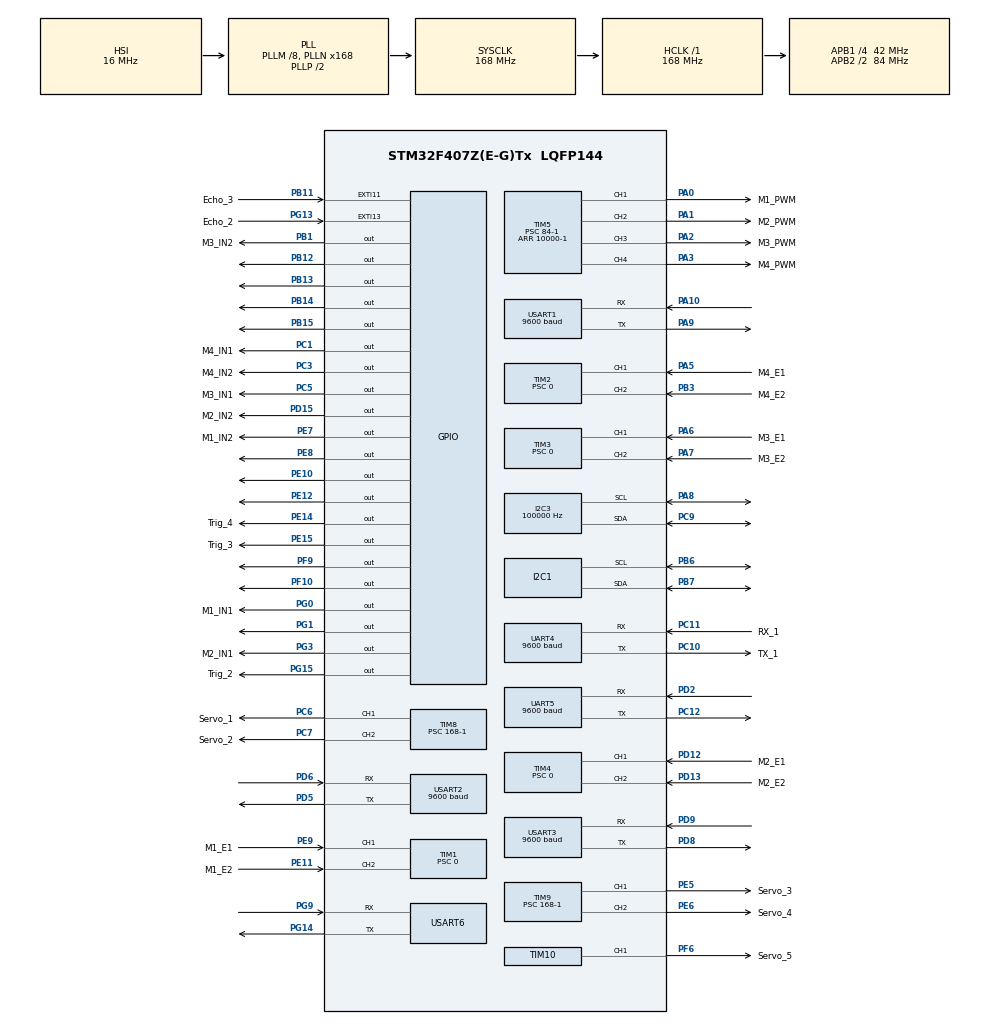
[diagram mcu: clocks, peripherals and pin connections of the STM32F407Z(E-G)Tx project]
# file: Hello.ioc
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I2C1.I2C_Mode=I2C_Fast
I2C3.ClockSpeed=100000
I2C3.I2C_Mode=I2C_Fast
Mcu.Family=STM32F4
Mcu.Name=STM32F407Z(E-G)Tx
Mcu.Package=LQFP144
NVIC.PriorityGroup=NVIC_PRIORITYGROUP_4
NVIC.UART4_IRQn=true\:2\:0\:true\:false\:true\:true\:true\:true
NVIC.UART5_IRQn=true\:4\:0\:true\:false\:true\:true\:true\:true
NVIC.USART1_IRQn=true\:5\:0\:true\:false\:true\:true\:true\:true
NVIC.USART2_IRQn=true\:3\:0\:true\:false\:true\:true\:true\:true
NVIC.USART3_IRQn=true\:1\:0\:true\:false\:true\:true\:true\:true
PA0-WKUP.GPIO_Label=M1_PWM
PA0-WKUP.Signal=S_TIM5_CH1
PA1.GPIO_Label=M2_PWM
PA1.Signal=S_TIM5_CH2
PA10.Mode=Asynchronous
PA10.Signal=USART1_RX
PA13.Mode=Serial_Wire
PA13.Signal=SYS_JTMS-SWDIO
PA14.Mode=Serial_Wire
PA14.Signal=SYS_JTCK-SWCLK
PA2.GPIO_Label=M3_PWM
PA2.Signal=S_TIM5_CH3
PA3.GPIO_Label=M4_PWM
PA3.Signal=S_TIM5_CH4
PA5.GPIO_Label=M4_E1
PA5.Signal=S_TIM2_CH1_ETR
PA6.GPIO_Label=M3_E1
PA6.Signal=S_TIM3_CH1
PA7.GPIO_Label=M3_E2
PA7.Signal=S_TIM3_CH2
PA8.Mode=I2C
PA8.Signal=I2C3_SCL
PA9.Mode=Asynchronous
PA9.Signal=USART1_TX
PB1.GPIO_Label=M3_IN2
PB1.Signal=GPIO_Output
PB11.GPIO_Label=Echo_3
PB11.GPIO_ModeDefaultEXTI=GPIO_MODE_IT_RISING_FALLING
PB11.Signal=GPXTI11
PB12.Signal=GPIO_Output
PB13.Signal=GPIO_Output
PB14.Signal=GPIO_Output
PB15.Signal=GPIO_Output
PB3.GPIO_Label=M4_E2
PB3.Signal=S_TIM2_CH2
PB6.Mode=I2C
PB6.Signal=I2C1_SCL
PB7.Mode=I2C
PB7.Signal=I2C1_SDA
PC1.GPIO_Label=M4_IN1
PC1.Signal=GPIO_Output
PC10.GPIO_Label=TX_1
PC10.Mode=Asynchronous
PC10.Signal=UART4_TX
PC11.GPIO_Label=RX_1
PC11.Mode=Asynchronous
PC11.Signal=UART4_RX
PC12.Mode=Asynchronous
PC12.Signal=UART5_TX
PC14-OSC32_IN.Mode=LSE-External-Oscillator
PC14-OSC32_IN.Signal=RCC_OSC32_IN
PC15-OSC32_OUT.Mode=LSE-External-Oscillator
PC15-OSC32_OUT.Signal=RCC_OSC32_OUT
PC3.GPIO_Label=M4_IN2
PC3.Signal=GPIO_Output
PC5.GPIO_Label=M3_IN1
PC5.Signal=GPIO_Output
PC6.GPIO_Label=Servo_1
PC6.Signal=S_TIM8_CH1
PC7.GPIO_Label=Servo_2
PC7.Signal=S_TIM8_CH2
PC9.Mode=I2C
PC9.Signal=I2C3_SDA
PD12.GPIO_Label=M2_E1
PD12.Signal=S_TIM4_CH1
PD13.GPIO_Label=M2_E2
PD13.Signal=S_TIM4_CH2
PD15.GPIO_Label=M2_IN2
PD15.Signal=GPIO_Output
PD2.Mode=Asynchronous
PD2.Signal=UART5_RX
PD5.Mode=Asynchronous
PD5.Signal=USART2_TX
PD6.Mode=Asynchronous
PD6.Signal=USART2_RX
PD8.Mode=Asynchronous
PD8.Signal=USART3_TX
PD9.Mode=Asynchronous
PD9.Signal=USART3_RX
PE10.Signal=GPIO_Output
PE11.GPIO_Label=M1_E2
PE11.Signal=S_TIM1_CH2
PE12.Signal=GPIO_Output
PE14.GPIO_Label=Trig_4
PE14.Signal=GPIO_Output
PE15.GPIO_Label=Trig_3
PE15.Signal=GPIO_Output
PE5.GPIO_Label=Servo_3
PE5.Signal=S_TIM9_CH1
PE6.GPIO_Label=Servo_4
PE6.Signal=S_TIM9_CH2
PE7.GPIO_Label=M1_IN2
PE7.Signal=GPIO_Output
PE8.Signal=GPIO_Output
PE9.GPIO_Label=M1_E1
PE9.Signal=S_TIM1_CH1
PF10.Signal=GPIO_Output
PF6.GPIO_Label=Servo_5
PF6.Signal=S_TIM10_CH1
PF9.Signal=GPIO_Output
PG0.GPIO_Label=M1_IN1
PG0.Signal=GPIO_Output
PG1.Signal=GPIO_Output
PG13.GPIO_Label=Echo_2
PG13.GPIO_ModeDefaultEXTI=GPIO_MODE_IT_RISING_FALLING
PG13.Signal=GPXTI13
PG14.Mode=Asynchronous
PG14.Signal=USART6_TX
PG15.GPIO_Label=Trig_2
PG15.Signal=GPIO_Output
PG3.GPIO_Label=M2_IN1
PG3.Signal=GPIO_Output
PG9.Mode=Asynchronous
PG9.Signal=USART6_RX
PH0-OSC_IN.Mode=HSE-External-Oscillator
PH0-OSC_IN.Signal=RCC_OSC_IN
PH1-OSC_OUT.Mode=HSE-External-Oscillator
PH1-OSC_OUT.Signal=RCC_OSC_OUT
ProjectManager.HeapSize=0x200
ProjectManager.StackSize=0x400
ProjectManager.TargetToolchain=STM32CubeIDE
RCC.48MHZClocksFreq_Value=84000000
RCC.AHBFreq_Value=168000000
RCC.APB1CLKDivider=RCC_HCLK_DIV4
RCC.APB1Freq_Value=42000000
RCC.APB1TimFreq_Value=84000000
RCC.APB2CLKDivider=RCC_HCLK_DIV2
RCC.APB2Freq_Value=84000000
RCC.APB2TimFreq_Value=168000000
RCC.CortexFreq_Value=168000000
RCC.HCLKFreq_Value=168000000
RCC.HSE_VALUE=25000000
RCC.HSI_VALUE=16000000
RCC.PLLM=8
RCC.PLLN=168
RCC.SYSCLKFreq_VALUE=168000000
RCC.SYSCLKSource=RCC_SYSCLKSOURCE_PLLCLK
RCC.VCOOutputFreq_Value=336000000
SH.S_TIM10_CH1.0=TIM10_CH1,PWM Generation1 CH1
SH.S_TIM1_CH1.0=TIM1_CH1,Encoder_Interface
SH.S_TIM1_CH2.0=TIM1_CH2,Encoder_Interface
SH.S_TIM2_CH1_ETR.0=TIM2_CH1,Encoder_Interface
SH.S_TIM2_CH2.0=TIM2_CH2,Encoder_Interface
SH.S_TIM3_CH1.0=TIM3_CH1,Encoder_Interface
SH.S_TIM3_CH2.0=TIM3_CH2,Encoder_Interface
SH.S_TIM4_CH1.0=TIM4_CH1,Encoder_Interface
SH.S_TIM4_CH2.0=TIM4_CH2,Encoder_Interface
SH.S_TIM5_CH1.0=TIM5_CH1,PWM Generation1 CH1
SH.S_TIM5_CH2.0=TIM5_CH2,PWM Generation2 CH2
SH.S_TIM5_CH3.0=TIM5_CH3,PWM Generation3 CH3
SH.S_TIM5_CH4.0=TIM5_CH4,PWM Generation4 CH4
SH.S_TIM8_CH1.0=TIM8_CH1,PWM Generation1 CH1
SH.S_TIM8_CH2.0=TIM8_CH2,PWM Generation2 CH2
SH.S_TIM9_CH1.0=TIM9_CH1,PWM Generation1 CH1
SH.S_TIM9_CH2.0=TIM9_CH2,PWM Generation2 CH2
TIM1.IC1Filter=15
TIM1.IC2Filter=15
TIM1.Prescaler=0
TIM10.Channel=TIM_CHANNEL_1
TIM10.Period=20000-1
TIM10.Prescaler=168-1
TIM2.IC1Filter=15
TIM2.IC2Filter=15
TIM2.Prescaler=0
TIM3.IC1Filter=15
TIM3.IC2Filter=15
TIM3.Prescaler=0
TIM4.IC1Filter=15
TIM4.Prescaler=0
TIM5.Channel-PWM\ Generation1\ CH1=TIM_CHANNEL_1
TIM5.Channel-PWM\ Generation2\ CH2=TIM_CHANNEL_2
TIM5.Channel-PWM\ Generation3\ CH3=TIM_CHANNEL_3
TIM5.Channel-PWM\ Generation4\ CH4=TIM_CHANNEL_4
TIM5.Period=10000-1
TIM5.Prescaler=84-1
TIM6.Prescaler=8400-1
TIM8.Channel-PWM\ Generation1\ CH1=TIM_CHANNEL_1
TIM8.Channel-PWM\ Generation2\ CH2=TIM_CHANNEL_2
TIM8.Period=20000-1
TIM8.Prescaler=168-1
TIM8.Pulse-PWM\ Generation1\ CH1=1000
TIM8.Pulse-PWM\ Generation2\ CH2=1000
TIM9.Channel-PWM\ Generation1\ CH1=TIM_CHANNEL_1
TIM9.Channel-PWM\ Generation2\ CH2=TIM_CHANNEL_2
TIM9.Period=20000-1
TIM9.Prescaler=168-1
TIM9.Pulse-PWM\ Generation1\ CH1=1000
TIM9.Pulse-PWM\ Generation2\ CH2=1000
UART4.BaudRate=9600
UART4.VirtualMode=Asynchronous
UART5.BaudRate=9600
UART5.VirtualMode=Asynchronous
UART5.WordLength=WORDLENGTH_8B
USART1.BaudRate=9600
USART1.Parity=PARITY_NONE
USART1.VirtualMode=VM_ASYNC
USART2.BaudRate=9600
USART2.VirtualMode=VM_ASYNC
USART3.BaudRate=9600
USART3.VirtualMode=VM_ASYNC
USART6.VirtualMode=VM_ASYNC
VP_TIM10_VS_ClockSourceINT.Mode=Enable_Timer
VP_TIM5_VS_ClockSourceINT.Mode=Internal
VP_TIM6_VS_ClockSourceINT.Mode=Enable_Timer
VP_TIM8_VS_ClockSourceINT.Mode=Internal
VP_TIM9_VS_ClockSourceINT.Mode=Internal
board=custom

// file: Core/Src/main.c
/* USER CODE BEGIN Header */
/**
  ******************************************************************************
  * @file           : main.c
  * @brief          : Main program body
  ******************************************************************************
  * @attention
  *
  * Copyright (c) 2025 STMicroelectronics.
  * All rights reserved.
  *
  * This software is licensed under terms that can be found in the LICENSE file
  * in the root directory of this software component.
  * If no LICENSE file comes with this software, it is provided AS-IS.
  *
  ******************************************************************************
  */
/* USER CODE END Header */
#include "main.h"
#include "i2c.h"
#include "tim.h"
#include "usart.h"
#include "gpio.h"

/* USER CODE BEGIN Includes */
#include "ultrasonic_nonblocking.h"
#include "Servo.h"
#include "motor.h"
#include "mpu6050.h"
#include "pid_controller.h"
#include "us100_uart.h"
#include <stdio.h>
#include <string.h>
#include "OLED.h"
#include <stdbool.h>
/* USER CODE END Includes */

/* USER CODE BEGIN PV */
char aRxBuffer[1]={51};
uint8_t ledState = 0;
Motor motors[MOTOR_COUNT] = {0};
float target_speed = 50.0f;
uint32_t prev_time = 0;
uint32_t oled_prev_time = 0;
uint32_t path = 0;
uint32_t path_change = 0;
uint32_t count_100ms = 0;
uint32_t time_start = 0;
float distances[4] = {2000.0f, 2000.0f, 2000.0f, 2000.0f};
float sum[4] = {0, 0, 0, 0};
float mean[4] = {0, 0, 0, 0};
bool start_flag = true;
uint32_t time = 0;
bool flag = true;
bool delay_flag = true;
uint8_t OpenMVdata = 0;
uint8_t message[] = "Hello World";
uint8_t uart4_rx_buffer;
Servo servo1, servo2, servo3, servo4, servo5;
US100Sensor us100_sensor1, us100_sensor2, us100_sensor3, us100_sensor4;

// 添加缺失的变量定义
uint32_t start_start = 0;
uint32_t time_enterpath_case0 = 0;
uint32_t time_enterpath_case1 = 0;
uint32_t time_enterpath_case3 = 0;
uint32_t time_enterpath_case5 = 0;
uint32_t time_enterpath_case7 = 0;
uint32_t time_enterpath_case9 = 0;
uint32_t time_enterpath_case11 = 0;
/* USER CODE END PV */

void SystemClock_Config(void);

/* USER CODE BEGIN 0 */
#define CLAMP(value, min, max) ((value) < (min) ? (min) : ((value) > (max) ? (max) : (value)))

void HAL_UART_RxCpltCallback(UART_HandleTypeDef *huart){
    // 检查是否是UART5（US100传感器使用的串口）
    if (huart == &huart1) {
    ledState = !ledState;
    HAL_GPIO_WritePin(GPIOF, GPIO_PIN_9, ledState ? GPIO_PIN_SET : GPIO_PIN_RESET);
    // 继续接收下一个字节
    HAL_UART_Receive_IT(&huart1, aRxBuffer, 1);
    }
    if (huart == &huart5||huart == &huart2||huart == &huart3||huart == &huart4) {
      US100_UART_RxCpltCallback(huart);
      HAL_GPIO_WritePin(GPIOF, GPIO_PIN_10, GPIO_PIN_SET);  // 收到'a'后关闭LED
    }
    // if (huart == &huart5) {
    //     // 调用US100库的回调函数
    //   US100_UART_RxCpltCallback(huart,5);
    //   HAL_GPIO_WritePin(GPIOF, GPIO_PIN_10, GPIO_PIN_SET);  // 收到'a'后关闭LED
    // }else if (huart == &huart2)
    // {
    //   US100_UART_RxCpltCallback(huart,2);
    //   HAL_GPIO_WritePin(GPIOF, GPIO_PIN_10, GPIO_PIN_SET);
    // }else if (huart == &huart3)
    // {
    //   US100_UART_RxCpltCallback(huart,3);
    //   HAL_GPIO_WritePin(GPIOF, GPIO_PIN_10, GPIO_PIN_SET);
    // }else if (huart == &huart4)
    // {
    //   US100_UART_RxCpltCallback(huart,4);
    //   HAL_GPIO_WritePin(GPIOF, GPIO_PIN_10, GPIO_PIN_SET);
    // }

}

#define MAX_SPEED_STEP 5  // 每次最大速度变化量
uint8_t smooth_speed_transition(uint8_t current, uint8_t target) {
    if(target > current) {
        return fmin(current + MAX_SPEED_STEP, target);
    } else if(target < current) {
        return fmax(current - MAX_SPEED_STEP, target);
    }
    return current;
}

void PID_ResetAll(void) {
  PID_Reset(&pid_yaw);
  PID_Reset(&pid_rear);
  PID_Reset(&pid_front);
  PID_Reset(&pid_position);
}

void Rotate_90_Degrees(Motor_ID id1, Motor_ID id2, Motor_ID id3, Motor_ID id4, bool clockwise) {
  float ROTATION_SPEED;  // 旋转速度
  static const float ROTATION_SPEED_max = 30.0f;
  static const float ANGLE_TOLERANCE = 6.9f;  // 角度容差
  // MPU6050_DMP_Get_Data(&pitchstart , &rollopen , &yaw);
  float const start_yaw = target_yaw;  // 记录起始角度
  float target_angle = start_yaw + (clockwise ? -90.0f : 90.0f);  // 计算目标角度
  unsigned int num = 0;

  // 标准化目标角度到-180到180度范围
  if (target_angle > 180.0f) {
      target_angle -= 360.0f;
  } else if (target_angle < -180.0f) {
      target_angle += 360.0f;
  }

  // 设置目标偏航角
  target_yaw = target_angle;

  // // 重置PID控制器
  // PID_Reset(&pid_yaw);
  // PID_Reset(&pid_front);
  // PID_Reset(&pid_rear);
  // PID_Reset(&pid_position);

  // 开始旋转
  uint32_t start_time = HAL_GetTick();
  while (num <= 20) {
      // 检查是否超时（5秒）
      if (HAL_GetTick() - start_time > 5000) {
          break;
      }

      // 获取当前偏航角
      float pitch, roll, current_yaw;
      if (MPU6050_DMP_Get_Data(&pitch, &roll, &current_yaw) != 0) {
          continue;  // 如果获取数据失败，继续尝试
      }

      OLED_ShowChar(3,5,current_yaw >= 0 ? '+' : '-');
      OLED_ShowChar(3,13,target_yaw >= 0 ? '+' : '-');
      OLED_ShowNum(3,14,fabsf(target_yaw),3);
      OLED_ShowNum(3,6,fabsf(current_yaw),3);
      OLED_ShowChar(4,5,roll >= 0 ? '+' : '-');
      OLED_ShowNum(4, 6, fabsf(roll) , 3);

      // 计算角度误差
      float angle_error = target_angle - current_yaw;

      // 计算时间间隔dt
      static uint32_t last_pid_time = 0;
      uint32_t current_time = HAL_GetTick();
      float dt = (current_time - last_pid_time) / 1000.0f;  // 转换为秒
      last_pid_time = current_time;

      float voltage = PID_Calculate(&pid_yaw, angle_error, dt);

      // 根据电压的正负分别限制速度，且要求绝对值大于12
      if (fabsf(voltage) > 10.0f) {
          if (voltage >= 0) {
              ROTATION_SPEED = fmin(voltage, ROTATION_SPEED_max);
          } else {
              ROTATION_SPEED = fmax(voltage, -ROTATION_SPEED_max);
          }
      } else {
          // 如果电压绝对值小于等于12，保持原符号但设为12
          ROTATION_SPEED = (voltage >= 0) ? 10.0f : -10.0f;
      }
      // 如果达到目标角度（考虑容差），停止旋转

      // 根据旋转方向设置电机速度
      Motor_SetSpeed(id1, ROTATION_SPEED);  // 左前
      Motor_SetSpeed(id2, ROTATION_SPEED);  // 右后
      Motor_SetSpeed(id3, -ROTATION_SPEED);   // 左后
      Motor_SetSpeed(id4, -ROTATION_SPEED);   // 右前

      if (fabsf(angle_error) <= ANGLE_TOLERANCE){
          num++;
      }
      HAL_Delay(10);
  }

}

void Servo_open_red_left()
{
    // 使用正确的舵机变量名和角度
    Servo_SetAngle(&servo1, 115);
    Servo_SetAngle(&servo2, 35);
    Servo_SetAngle(&servo3, 123);
    Servo_SetAngle(&servo4, 48);
    Servo_SetAngle(&servo5, 15);
}

void Servo_open_red_right()
{
    // 使用正确的舵机变量名和角度
    Servo_SetAngle(&servo1, 35);
    Servo_SetAngle(&servo2, 122);
    Servo_SetAngle(&servo3, 38);
    Servo_SetAngle(&servo4, 138);
    Servo_SetAngle(&servo5, 15);
}

void Servo_open_green_left()
{
    // 使用正确的舵机变量名和角度
    Servo_SetAngle(&servo1, 35);
    Servo_SetAngle(&servo2, 35);
    Servo_SetAngle(&servo3, 123);
    Servo_SetAngle(&servo4, 48);
    Servo_SetAngle(&servo5, 15);
}

void Servo_open_green_right()
{
    // 使用正确的舵机变量名和角度
    Servo_SetAngle(&servo1, 35);
    Servo_SetAngle(&servo2, 35);
    Servo_SetAngle(&servo3, 38);
    Servo_SetAngle(&servo4, 138);
    Servo_SetAngle(&servo5, 15);
}

void Servo_close()
{
    // 使用正确的舵机变量名和角度
    Servo_SetAngle(&servo5, 105);
    Servo_SetAngle(&servo1, 40);
    Servo_SetAngle(&servo2, 35);
    Servo_SetAngle(&servo3, 38);
    Servo_SetAngle(&servo4, 48);
}

/* USER CODE END 0 */

int main(void)
{
  HAL_Init();
  SystemClock_Config();

  MX_GPIO_Init();
  MX_I2C1_Init();
  MX_I2C3_Init();
  MX_USART1_UART_Init();
  MX_TIM1_Init();
  MX_TIM3_Init();
  MX_TIM4_Init();
  MX_TIM5_Init();
  MX_TIM8_Init();
  MX_TIM9_Init();
  MX_TIM10_Init();
  MX_TIM2_Init();
  MX_UART4_Init();
  MX_UART5_Init();
  MX_USART2_UART_Init();
  MX_USART3_UART_Init();
  MX_USART6_UART_Init();
  MX_TIM6_Init();
  /* USER CODE BEGIN 2 */
  OLED_Init();

  HAL_UART_Receive_IT(&huart1, aRxBuffer, 1);

  HAL_TIM_Base_Start(&htim6);
  Reset_Timer();  // 重置计时器

  // 初始化MPU6050 DMP
  int mpu_result;
  int retry_count = 0;
  uint32_t timeout_start = HAL_GetTick();

  do {
      mpu_result = MPU6050_DMP_Init();
      if (mpu_result != 0) {
          retry_count++;
          if (retry_count % 10 == 0) {
              OLED_ShowString(1,1,"INITING...");
              OLED_ShowNum(1,11,retry_count,2);
          }
          // 添加超时检查
          if (HAL_GetTick() - timeout_start > 5000) { // 5秒超时
              OLED_ShowString(1,1,"MPU INIT FAIL");
              break;
          }
      }
  } while (mpu_result != 0);

  OLED_Clear();
  OLED_ShowString(1,1,"SUCCESS");
  // 显示初始化耗时
  uint32_t init_time = HAL_GetTick() - timeout_start;
  OLED_ShowNum(2,1,init_time,4);
  OLED_ShowString(2,5,"ms");

  // 初始化US100传感器顺时针1234
  US100_Init(&us100_sensor2, &huart5);
  US100_Init(&us100_sensor1, &huart4);
  US100_Init(&us100_sensor4, &huart3);
  US100_Init(&us100_sensor3, &huart2);

  // 开始第一次测量
  US100_StartMeasurement(&us100_sensor1);
  US100_StartMeasurement(&us100_sensor2);
  US100_StartMeasurement(&us100_sensor3);
  US100_StartMeasurement(&us100_sensor4);

  Motor_Init(MOTOR_1,
            &htim5, TIM_CHANNEL_1,
            M1_IN1_GPIO_Port, M1_IN1_Pin,
            M1_IN2_GPIO_Port, M1_IN2_Pin,
            &htim1);

  Motor_Init(MOTOR_2,
            &htim5, TIM_CHANNEL_2,
            M2_IN1_GPIO_Port, M2_IN1_Pin,
            M2_IN2_GPIO_Port, M2_IN2_Pin,
            &htim4);

  Motor_Init(MOTOR_3,
            &htim5, TIM_CHANNEL_3,
            M3_IN1_GPIO_Port, M3_IN1_Pin,
            M3_IN2_GPIO_Port, M3_IN2_Pin,
            &htim3);

  Motor_Init(MOTOR_4,
            &htim5, TIM_CHANNEL_4,
            M4_IN1_GPIO_Port, M4_IN1_Pin,
            M4_IN2_GPIO_Port, M4_IN2_Pin,
            &htim2);

  Servo_Init(&servo1, &htim8, TIM_CHANNEL_1, Servo_1_GPIO_Port, Servo_1_Pin);
  Servo_Init(&servo2, &htim8, TIM_CHANNEL_2, Servo_2_GPIO_Port, Servo_2_Pin);
  Servo_Init(&servo3, &htim9, TIM_CHANNEL_1, Servo_3_GPIO_Port, Servo_3_Pin);
  Servo_Init(&servo4, &htim9, TIM_CHANNEL_2, Servo_4_GPIO_Port, Servo_4_Pin);
  Servo_Init(&servo5, &htim10, TIM_CHANNEL_1, Servo_5_GPIO_Port, Servo_5_Pin);

  Servo_close();

  prev_time = HAL_GetTick();

  /*------------------------------------MPU6050 DMP执行部分-------------------------------------*/
    OLED_ShowString(3,1,"yaw:");
    OLED_ShowString(3,9,"TAR:");

  // 设置目标偏航角为当前偏航角
  target_yaw = yaw;

  // 重置PID控制器，避免积分项累积
  PID_Reset(&pid_yaw);
  PID_Reset(&pid_encoder);
  OLED_Clear_Part(1,1,5);

  /* USER CODE END 2 */
  start_start = HAL_GetTick();

  while (1)
  {
    /* USER CODE END WHILE */

    /* USER CODE BEGIN 3 */
    uint32_t current_time = HAL_GetTick();
    /*------------------------------------------------------------------------舵机执行部分--------------------------------------------------------------------*/

    static uint8_t last_data = 0;
     static uint32_t last_time = 0;
     static uint32_t servo_delay_start = 0;
     static bool waiting_for_delay = false;
     static uint8_t pending_servo_action = 0;  // 0:无动作, 1:红左, 2:红右, 3:绿左, 4:绿右, 5:关闭
     char opendata = aRxBuffer[0];
     OLED_ShowNum(4,13,opendata,3);

     bool can_change_state = (current_time - last_time >= 500);

     if(last_data != opendata && can_change_state) {
         if(opendata == 'r') {
             if(path == 3 || path == 7 || path == 11) {
                 servo_delay_start = current_time;
                 waiting_for_delay = true;
                 pending_servo_action = 1;  // 红左
             } else if(path == 5 || path == 9) {
                 servo_delay_start = current_time;
                 waiting_for_delay = true;
                 pending_servo_action = 2;  // 红右
             }
         } else if(opendata == 'g') {
             if(path == 3 || path == 7 || path == 11) {
                 servo_delay_start = current_time;
                 waiting_for_delay = true;
                 pending_servo_action = 3;  // 绿左
             } else if(path == 5 || path == 9) {
                 servo_delay_start = current_time;
                 waiting_for_delay = true;
                 pending_servo_action = 4;  // 绿右
             }
         } else if(opendata == 'n')
         {
             servo_delay_start = current_time;
             waiting_for_delay = true;
             pending_servo_action = 5;  // 关闭
         }

         last_data = opendata;
         last_time = current_time;
     }

     // 处理舵机延迟和动作
     if(waiting_for_delay) {
         uint32_t delay_time;
         switch(pending_servo_action) {
             case 1: delay_time = 0; break;  // 红左
             case 2: delay_time = 0; break;  // 红右
             case 3: delay_time = 0; break;  // 绿左
             case 4: delay_time = 0; break;  // 绿右
             case 5: delay_time = 0; break;  // 关闭
             default: delay_time = 0;
         }

         if(current_time - servo_delay_start >= delay_time) {
             switch(pending_servo_action) {
                 case 1: Servo_open_red_left(); break;
                 case 2: Servo_open_red_right(); break;
                 case 3: Servo_open_green_left(); break;
                 case 4: Servo_open_green_right(); break;
                 case 5: Servo_close(); break;
             }
             waiting_for_delay = false;
             pending_servo_action = 0;
         }
     }

    /*----------------------------------------------------------------------------US100传感器执行部分-------------------------------------------------------------*/
    US100_GetAllValidDistances(distances);

    if (current_time - oled_prev_time >= 100) {  // 每100ms更新一次显示
        // 显示原始距离和滤波后的距离
        OLED_ShowString(1, 1, "Flt:");
        OLED_ShowString(1, 9, "Flt:");
        OLED_ShowString(2, 1, "Flt:");
        OLED_ShowString(2, 9, "Flt:");

        // 显示第一个传感器的原始值和滤波值
        OLED_ShowNum(1, 5, distances[0], 4);
        OLED_ShowNum(1, 13, fabs(distances[1]), 4);

        // 显示第二个传感器的原始值和滤波值
        OLED_ShowNum(2, 5, distances[2], 4);
        OLED_ShowNum(2, 13, distances[3], 4);

        oled_prev_time = current_time;
    }

    if(delay_flag)
    {
      HAL_Delay(500);
      delay_flag=false;
    }
    /*---------------------------------------------------------------电机执行部分---------------------------------------------------------------------------------*/

    OLED_ShowChar(3,5,yaw >= 0 ? '+' : '-');
    OLED_ShowNum(3,6,fabsf(yaw),3);
    OLED_ShowChar(3,13,target_yaw >= 0 ? '+' : '-');
    OLED_ShowNum(3,14,fabsf(target_yaw),3);

     switch (path) {
       case 0: {
         // 参数定义
         const float TARGET_DISTANCE = 156.0f;   // 调试，这个变量用于检测最终的目标距离
         const float DECEL_RANGE = 600.0f;      // 调试，这个变量用于设置减速区间范围
         const uint16_t ADJUST_DISTANCE = 250;  // 调试，这个变量用于在距离最终目标距离较近时的取消调校
         const uint8_t MIN_SPEED = 13;          // 调试，这个变量用于设置接近目标时的速度最小速度（靠近时）
         const uint8_t MAX_SPEED = 60;          // 调试，这个变量用于设置离目标较远时的速度
         const uint16_t DELAY_ADJUST = 8000;    // 调试，这个变量用于路径转换后的校准延时时间，需要确保进入垄
         float current_distance = distances[1]; // 前面的超声波
         if(time_enterpath_case0 == 0) {
             time_enterpath_case0 = HAL_GetTick();
         }

         // 速度计算逻辑
         uint8_t motor_speed = 0;  // 默认最大速度
        //  motor_speed = MAX_SPEED;
        if (current_distance <= TARGET_DISTANCE && current_distance != 0 && (HAL_GetTick() - time_enterpath_case0 >= 8000)) {
             motor_speed = MIN_SPEED;
            Motor_SetSpeed(MOTOR_1,0);
            Motor_SetSpeed(MOTOR_2,0);
            Motor_SetSpeed(MOTOR_3,0);
            Motor_SetSpeed(MOTOR_4,0);
             Rotate_90_Degrees(MOTOR_1, MOTOR_2, MOTOR_3, MOTOR_4, true);
             path += 1;
             PID_ResetAll(); // 重置所有PID控制器
            //  break;
         }
        else if (current_distance <= (TARGET_DISTANCE + DECEL_RANGE) /* && mean[1] <= (TARGET_DISTANCE + DECEL_RANGE) */) {
               // 区域2：减速区间（70~170mm）
               // 距离越近速度越慢，线性变化：170mm->60, 70mm->10
               float distance_from_target = current_distance - TARGET_DISTANCE;
               float ratio = (distance_from_target / DECEL_RANGE) * 1.45;
               motor_speed = MIN_SPEED + (uint8_t)((MAX_SPEED - MIN_SPEED) * ratio);
               motor_speed = CLAMP(motor_speed, MIN_SPEED, MAX_SPEED);
           }
         else {
             // 区域1：全速区间（>170mm）
             motor_speed = MAX_SPEED;
         }

         // 执行带平滑过渡的电机控制
         static uint8_t last_speed = 0;
         motor_speed = smooth_speed_transition(last_speed, motor_speed);
         last_speed = motor_speed;

        // OLED_ShowNum(3,14,fabsf(motor_speed),3);
        Motor_Straight(MOTOR_1, MOTOR_2, MOTOR_3, MOTOR_4, motor_speed, &yaw, &target_yaw);

         // 使用左侧电机调整
         if(HAL_GetTick() - time_enterpath_case0 >= DELAY_ADJUST && current_distance >= ADJUST_DISTANCE ){
             Adjust_Left_Motors_By_Distance(MOTOR_1, MOTOR_3, MOTOR_2, MOTOR_4, raw_distances[0], 50.0f);
         }
         OLED_ShowNum(4, 1, path, 2);
         OLED_ShowNum(4, 4, motor_speed, 2);
         break;

       }
       case 1: {
         // 参数定义
         const float TARGET_DISTANCE = 156.0f;   // 调试，这个变量用于检测最终的目标距离
         const float DECEL_RANGE = 600.0f;      // 调试，这个变量用于设置减速区间范围
         const uint16_t ADJUST_DISTANCE = 250;  // 调试，这个变量用于在距离最终目标距离较近时的取消调校
         const uint8_t MIN_SPEED = 16;          // 调试，这个变量用于设置接近目标时的速度最小速度（靠近时）
         const uint8_t MAX_SPEED = 60;          // 调试，这个变量用于设置离目标较远时的速度
         const uint16_t DELAY_ADJUST = 2700;    // 调试，这个变量用于路径转换后的校准延时时间，需要确保进入垄

         float current_distance = distances[1];
         if(time_enterpath_case1 == 0) {
             time_enterpath_case1 = HAL_GetTick();
         }

         // 速度计算逻辑
         uint8_t motor_speed = MAX_SPEED;  // 默认最大速度

         // 添加延迟判定
         static uint32_t reach_target_time = 0;
         if (reach_target_time == 0) {
             reach_target_time = HAL_GetTick();
         }

        if (current_distance <= TARGET_DISTANCE) {
             // 区域3：到达目标距离（≤130mm）
             motor_speed = MIN_SPEED;

             // 执行路径切换逻辑
             if(current_distance <= TARGET_DISTANCE && (HAL_GetTick() - reach_target_time >= 3000)) {
                Rotate_90_Degrees(MOTOR_1, MOTOR_2, MOTOR_3, MOTOR_4, false );
                 path += 1;
                 PID_ResetAll(); // 重置所有PID控制器
                 reach_target_time = 0; // 重置时间戳
             }
         }
         else if (current_distance <= (TARGET_DISTANCE + DECEL_RANGE)) {
             // 区域2：减速区间（130~830mm）
             float distance_from_target = current_distance - TARGET_DISTANCE;
             float ratio = (distance_from_target / DECEL_RANGE) *1.45;
             motor_speed = MIN_SPEED + (uint8_t)((MAX_SPEED - MIN_SPEED) * ratio);
             motor_speed = CLAMP(motor_speed, MIN_SPEED, MAX_SPEED);
         }
         else {
             // 区域1：全速区间（>830mm）
             motor_speed = MAX_SPEED;
         }

         // 执行带平滑过渡的电机控制
         static uint8_t last_speed = 0;
         motor_speed = smooth_speed_transition(last_speed, motor_speed);
         last_speed = motor_speed;

         Motor_Straight(MOTOR_1, MOTOR_2, MOTOR_3, MOTOR_4, motor_speed, &yaw, &target_yaw);

         if(HAL_GetTick() - time_enterpath_case1 >= DELAY_ADJUST && current_distance >= ADJUST_DISTANCE ){
             Adjust_Left_Motors_By_Distance(MOTOR_1, MOTOR_4, MOTOR_2, MOTOR_3, raw_distances[0], 82.0f);
         }

         OLED_ShowNum(4, 4, motor_speed, 2);
         OLED_ShowNum(4, 1, path, 2);
         break;
       }
       case 2: {
         const uint32_t DELAY_ENTER = 200; //调试

         if (path_change!=2)
         {
           if ((distances[0]>=150 && path_change==0)||(distances[0]<=150 && path_change==1))
           {
             Motor_Straight(MOTOR_1, MOTOR_2, MOTOR_3, MOTOR_4, -33, &yaw, &target_yaw);
             // 使用右侧电机调整
             Adjust_Right_Motors_By_Distance(MOTOR_2, MOTOR_4, MOTOR_1, MOTOR_3, raw_distances[2], 50.0f);
           }else if (distances[0]<=180 && path_change==0)
           {
             if(flag){
               time_start = HAL_GetTick();
               flag = false;
             }
             uint32_t time = HAL_GetTick();
             if(time - time_start >=100){
               path_change+=1;
               flag = true;
             }
           }else if (distances[0]>=180 && path_change==1)
           {
             if(flag){
               time_start = HAL_GetTick();
               flag = false;
             }
             uint32_t time = HAL_GetTick();
             if(time - time_start >= DELAY_ENTER ){
               path_change+=1;
               flag = true;
             }
           }
         }else{
           // 直接执行旋转和路径切换
           Rotate_90_Degrees(MOTOR_1, MOTOR_2, MOTOR_3, MOTOR_4, true );
           path_change = 0;
           flag = true;
           path +=1;
           PID_ResetAll();
         }
         OLED_ShowNum(4, 1, path, 2);
         break;
       }

       case 3: {
         // 参数定义
         const float TARGET_DISTANCE = 156.0f;   // 调试，这个变量用于检测最终的目标距离
         const float DECEL_RANGE = 600.0f;      // 调试，这个变量用于设置减速区间范围
         const uint16_t ADJUST_DISTANCE = 250;  // 调试，这个变量用于在距离最终目标距离较近时的取消调校
         const uint8_t MIN_SPEED = 21;          // 调试，这个变量用于设置接近目标时的速度最小速度（靠近时）
         const uint8_t MAX_SPEED = 60;          // 调试，这个变量用于设置离目标较远时的速度
         const uint16_t DELAY_ADJUST = 2700;    // 调试，这个变量用于路径转换后的校准延时时间，需要确保进入垄

         float current_distance = distances[3];
         if(time_enterpath_case3 == 0) {
             time_enterpath_case3 = HAL_GetTick();
         }

         // 速度计算逻辑
         uint8_t motor_speed = MAX_SPEED;  // 默认最大速度

         // 添加延迟判定
         static uint32_t reach_target_time = 0;
         if (reach_target_time == 0) {
             reach_target_time = HAL_GetTick();
         }
         if (current_distance <= TARGET_DISTANCE) {
             // 区域3：到达目标距离（≤130mm）
             motor_speed = MIN_SPEED;

             // 执行路径切换逻辑
             if(current_distance <= TARGET_DISTANCE && (HAL_GetTick() - reach_target_time >= 1000)) {
                Rotate_90_Degrees(MOTOR_1, MOTOR_2, MOTOR_3, MOTOR_4, false );
                 path += 1;
                 PID_ResetAll(); // 重置所有PID控制器
                 reach_target_time = 0; // 重置时间戳
             }
         }
         else if (current_distance <= (TARGET_DISTANCE + DECEL_RANGE)) {
             // 区域2：减速区间（130~830mm）
             float distance_from_target = current_distance - TARGET_DISTANCE;
             float ratio = (distance_from_target / DECEL_RANGE)*1.45;
             motor_speed = MIN_SPEED + (uint8_t)((MAX_SPEED - MIN_SPEED) * ratio);
             motor_speed = CLAMP(motor_speed, MIN_SPEED, MAX_SPEED);
         }
         else {
             // 区域1：全速区间（>830mm）
             motor_speed = MAX_SPEED;
         }

         // 执行带平滑过渡的电机控制
         static uint8_t last_speed = 0;
         motor_speed = smooth_speed_transition(last_speed, motor_speed);
         last_speed = motor_speed;

         Motor_Straight(MOTOR_1, MOTOR_2, MOTOR_3, MOTOR_4, -motor_speed, &yaw, &target_yaw);

         if(HAL_GetTick() - time_enterpath_case3 >= DELAY_ADJUST && current_distance >= ADJUST_DISTANCE ){
             Adjust_Motors_By_Side_Distances(MOTOR_1, MOTOR_4, MOTOR_2, MOTOR_3, raw_distances[0], raw_distances[2], 82.0f);
         }

         OLED_ShowNum(4, 4, motor_speed, 2);
         OLED_ShowNum(4, 1, path, 2);
         break;
       }

       case 4: {
         const uint32_t DELAY_ENTER = 280; //调试

         if (path_change!=2)
         {
           if ((distances[2]>=150 && path_change==0)||(distances[2]<=150 && path_change==1))
           {
             Motor_Straight(MOTOR_1, MOTOR_2, MOTOR_3, MOTOR_4, -30, &yaw, &target_yaw);
             // 使用左侧电机调整
             Adjust_Left_Motors_By_Distance(MOTOR_1, MOTOR_3, MOTOR_2, MOTOR_4, raw_distances[0], 50.0f);
           }else if (distances[2]<=170 && path_change==0)
           {
             if(flag){
               time_start = HAL_GetTick();
               flag = false;
             }
             uint32_t time = HAL_GetTick();
             if(time - time_start >=500){
               path_change+=1;
               flag = true;
             }
           }else if (distances[2]>=180 && path_change==1)
           {
             if(flag){
               time_start = HAL_GetTick();
               flag = false;
             }
             uint32_t time = HAL_GetTick();
             if(time - time_start >= DELAY_ENTER ){
               path_change+=1;
               flag = true;
             }
           }
         }else{
           // 直接执行旋转和路径切换
           Rotate_90_Degrees(MOTOR_1, MOTOR_2, MOTOR_3, MOTOR_4, true );
           path_change = 0;
           flag = true;
           path +=1;
           PID_ResetAll();
         }
         OLED_ShowNum(4, 1, path, 2);
         break;
       }

       case 5: {
         // 参数定义
         const float TARGET_DISTANCE = 156.0f;   // 调试，这个变量用于检测最终的目标距离
         const float DECEL_RANGE = 600.0f;      // 调试，这个变量用于设置减速区间范围
         const uint16_t ADJUST_DISTANCE = 250;  // 调试，这个变量用于在距离最终目标距离较近时的取消调校
         const uint8_t MIN_SPEED = 21;          // 调试，这个变量用于设置接近目标时的速度最小速度（靠近时）
         const uint8_t MAX_SPEED = 60;          // 调试，这个变量用于设置离目标较远时的速度
         const uint16_t DELAY_ADJUST = 2700;    // 调试，这个变量用于路径转换后的校准延时时间，需要确保进入垄

         float current_distance = distances[1];
         if(time_enterpath_case5 == 0) {
             time_enterpath_case5 = HAL_GetTick();
         }

         // 速度计算逻辑
         uint8_t motor_speed = MAX_SPEED;  // 默认最大速度

         // 添加延迟判定
         static uint32_t reach_target_time = 0;
         if (reach_target_time == 0) {
             reach_target_time = HAL_GetTick();
         }

         if (current_distance <= TARGET_DISTANCE) {
             // 区域3：到达目标距离（≤130mm）
             motor_speed = MIN_SPEED;

             // 执行路径切换逻辑
             if(current_distance <= TARGET_DISTANCE && (HAL_GetTick() - reach_target_time >= 1000)) {
                Rotate_90_Degrees(MOTOR_1, MOTOR_2, MOTOR_3, MOTOR_4, false );
                 path += 1;
                 PID_ResetAll(); // 重置所有PID控制器
                 reach_target_time = 0; // 重置时间戳
             }
         }
         else if (current_distance <= (TARGET_DISTANCE + DECEL_RANGE)) {
             // 区域2：减速区间（130~830mm）
             float distance_from_target = current_distance - TARGET_DISTANCE;
             float ratio = (distance_from_target / DECEL_RANGE)*1.45;
             motor_speed = MIN_SPEED + (uint8_t)((MAX_SPEED - MIN_SPEED) * ratio);
             motor_speed = CLAMP(motor_speed, MIN_SPEED, MAX_SPEED);
         }
         else {
             // 区域1：全速区间（>830mm）
             motor_speed = MAX_SPEED;
         }

         // 执行带平滑过渡的电机控制
         static uint8_t last_speed = 0;
         motor_speed = smooth_speed_transition(last_speed, motor_speed);
         last_speed = motor_speed;

         Motor_Straight(MOTOR_1, MOTOR_2, MOTOR_3, MOTOR_4, motor_speed, &yaw, &target_yaw);

         if(HAL_GetTick() - time_enterpath_case5 >= DELAY_ADJUST && current_distance >= ADJUST_DISTANCE ){
             Adjust_Motors_By_Side_Distances(MOTOR_1, MOTOR_4, MOTOR_2, MOTOR_3, raw_distances[0], raw_distances[2], 82.0f);
         }

         OLED_ShowNum(4, 4, motor_speed, 2);
         OLED_ShowNum(4, 1, path, 2);
         break;
       }

       case 6: {
         const uint32_t DELAY_ENTER = 200; //调试

         if (path_change!=2)
         {
           if ((distances[0]>=150 && path_change==0)||(distances[0]<=150 && path_change==1))
           {
             Motor_Straight(MOTOR_1, MOTOR_2, MOTOR_3, MOTOR_4, -30, &yaw, &target_yaw);
             // 使用右侧电机调整
             Adjust_Right_Motors_By_Distance(MOTOR_2, MOTOR_4, MOTOR_1, MOTOR_3, raw_distances[2], 50.0f);
           }else if (distances[0]<=190 && path_change==0)
           {
             if(flag){
               time_start = HAL_GetTick();
               flag = false;
             }
             uint32_t time = HAL_GetTick();
             if(time - time_start >=100){
               path_change+=1;
               flag = true;
             }
           }else if (distances[0]>=180 && path_change==1)
           {
             if(flag){
               time_start = HAL_GetTick();
               flag = false;
             }
             uint32_t time = HAL_GetTick();
             if(time - time_start >= DELAY_ENTER ){
               path_change+=1;
               flag = true;
             }
           }
         }else{
           // 直接执行旋转和路径切换
           Rotate_90_Degrees(MOTOR_1, MOTOR_2, MOTOR_3, MOTOR_4, true );
           path_change = 0;
           flag = true;
           path +=1;
           PID_ResetAll();
         }
         OLED_ShowNum(4, 1, path, 2);
         break;
       }

       case 7: {
         // 参数定义
         const float TARGET_DISTANCE = 156.0f;   // 调试，这个变量用于检测最终的目标距离
         const float DECEL_RANGE = 600.0f;      // 调试，这个变量用于设置减速区间范围
         const uint16_t ADJUST_DISTANCE = 250;  // 调试，这个变量用于在距离最终目标距离较近时的取消调校
         const uint8_t MIN_SPEED = 21;          // 调试，这个变量用于设置接近目标时的速度最小速度（靠近时）
         const uint8_t MAX_SPEED = 60;          // 调试，这个变量用于设置离目标较远时的速度
         const uint16_t DELAY_ADJUST = 2700;    // 调试，这个变量用于路径转换后的校准延时时间，需要确保进入垄

         float current_distance = distances[3];
         if(time_enterpath_case7 == 0) {
             time_enterpath_case7 = HAL_GetTick();
         }

         // 速度计算逻辑
         uint8_t motor_speed = MAX_SPEED;  // 默认最大速度

         // 添加延迟判定
         static uint32_t reach_target_time = 0;
         if (reach_target_time == 0) {
             reach_target_time = HAL_GetTick();
         }

         if (current_distance <= TARGET_DISTANCE) {
             // 区域3：到达目标距离（≤130mm）
             motor_speed = MIN_SPEED;

             // 执行路径切换逻辑
             if(current_distance <= TARGET_DISTANCE && (HAL_GetTick() - reach_target_time >= 3000)) {
                Rotate_90_Degrees(MOTOR_1, MOTOR_2, MOTOR_3, MOTOR_4, false );
                 path += 1;
                 PID_ResetAll(); // 重置所有PID控制器
                 reach_target_time = 0; // 重置时间戳
             }
         }
         else if (current_distance <= (TARGET_DISTANCE + DECEL_RANGE)) {
             // 区域2：减速区间（130~830mm）
             float distance_from_target = current_distance - TARGET_DISTANCE;
             float ratio = (distance_from_target / DECEL_RANGE)*1.45;
             motor_speed = MIN_SPEED + (uint8_t)((MAX_SPEED - MIN_SPEED) * ratio);
             motor_speed = CLAMP(motor_speed, MIN_SPEED, MAX_SPEED);
         }
         else {
             // 区域1：全速区间（>830mm）
             motor_speed = MAX_SPEED;
         }

         // 执行带平滑过渡的电机控制
         static uint8_t last_speed = 0;
         motor_speed = smooth_speed_transition(last_speed, motor_speed);
         last_speed = motor_speed;

         Motor_Straight(MOTOR_1, MOTOR_2, MOTOR_3, MOTOR_4, -motor_speed, &yaw, &target_yaw);

         if(HAL_GetTick() - time_enterpath_case7 >= DELAY_ADJUST && current_distance >= ADJUST_DISTANCE ){
             Adjust_Motors_By_Side_Distances(MOTOR_1, MOTOR_4, MOTOR_2, MOTOR_3, raw_distances[0], raw_distances[2], 82.0f);
         }

         OLED_ShowNum(4, 4, motor_speed, 2);
         OLED_ShowNum(4, 1, path, 2);
         break;
       }

       case 8: {
         const uint32_t DELAY_ENTER = 280; //调试

         if (path_change!=2)
         {
           if ((distances[2]>=150 && path_change==0)||(distances[2]<=150 && path_change==1))
           {
             Motor_Straight(MOTOR_1, MOTOR_2, MOTOR_3, MOTOR_4, -30, &yaw, &target_yaw);
             // 使用左侧电机调整
             Adjust_Left_Motors_By_Distance(MOTOR_1, MOTOR_3, MOTOR_2, MOTOR_4, raw_distances[0], 50.0f);
           }else if (distances[2]<=170 && path_change==0)
           {
             if(flag){
               time_start = HAL_GetTick();
               flag = false;
             }
             uint32_t time = HAL_GetTick();
             if(time - time_start >=500){
               path_change+=1;
               flag = true;
             }
           }else if (distances[2]>=180 && path_change==1)
           {
             if(flag){
               time_start = HAL_GetTick();
               flag = false;
             }
             uint32_t time = HAL_GetTick();
             if(time - time_start >= DELAY_ENTER ){
               path_change+=1;
               flag = true;
             }
           }
         }else{
           // 直接执行旋转和路径切换
           Rotate_90_Degrees(MOTOR_1, MOTOR_2, MOTOR_3, MOTOR_4, true );
           path_change = 0;
           flag = true;
           path +=1;
           PID_ResetAll();
         }
         OLED_ShowNum(4, 1, path, 2);
         break;
       }

       case 9: {
         // 参数定义
         const float TARGET_DISTANCE = 156.0f;   // 调试，这个变量用于检测最终的目标距离
         const float DECEL_RANGE = 600.0f;      // 调试，这个变量用于设置减速区间范围
         const uint16_t ADJUST_DISTANCE = 250;  // 调试，这个变量用于在距离最终目标距离较近时的取消调校
         const uint8_t MIN_SPEED = 21;          // 调试，这个变量用于设置接近目标时的速度最小速度（靠近时）
         const uint8_t MAX_SPEED = 60;          // 调试，这个变量用于设置离目标较远时的速度
         const uint16_t DELAY_ADJUST = 2700;    // 调试，这个变量用于路径转换后的校准延时时间，需要确保进入垄

         float current_distance = distances[1];
         if(time_enterpath_case9 == 0) {
             time_enterpath_case9 = HAL_GetTick();
         }

         // 速度计算逻辑
         uint8_t motor_speed = MAX_SPEED;  // 默认最大速度

         // 添加延迟判定
         static uint32_t reach_target_time = 0;
         if (reach_target_time == 0) {
             reach_target_time = HAL_GetTick();
         }

         if (current_distance <= TARGET_DISTANCE) {
             // 区域3：到达目标距离（≤130mm）
             motor_speed = MIN_SPEED;

             // 执行路径切换逻辑
             if(current_distance <= TARGET_DISTANCE && (HAL_GetTick() - reach_target_time >= 3000)) {
                Rotate_90_Degrees(MOTOR_1, MOTOR_2, MOTOR_3, MOTOR_4, false );
                 path += 1;
                 PID_ResetAll(); // 重置所有PID控制器
                 reach_target_time = 0; // 重置时间戳
             }
         }
         else if (current_distance <= (TARGET_DISTANCE + DECEL_RANGE)) {
             // 区域2：减速区间（130~830mm）
             float distance_from_target = current_distance - TARGET_DISTANCE;
             float ratio = (distance_from_target / DECEL_RANGE)*1.45;
             motor_speed = MIN_SPEED + (uint8_t)((MAX_SPEED - MIN_SPEED) * ratio);
             motor_speed = CLAMP(motor_speed, MIN_SPEED, MAX_SPEED);
         }
         else {
             // 区域1：全速区间（>830mm）
             motor_speed = MAX_SPEED;
         }

         // 执行带平滑过渡的电机控制
         static uint8_t last_speed = 0;
         motor_speed = smooth_speed_transition(last_speed, motor_speed);
         last_speed = motor_speed;

         Motor_Straight(MOTOR_1, MOTOR_2, MOTOR_3, MOTOR_4, motor_speed, &yaw, &target_yaw);

         if(HAL_GetTick() - time_enterpath_case9 >= DELAY_ADJUST && current_distance >= ADJUST_DISTANCE + 100 ){
             Adjust_Motors_By_Side_Distances(MOTOR_1, MOTOR_4, MOTOR_2, MOTOR_3, raw_distances[0], raw_distances[2], 82.0f);
         }

         OLED_ShowNum(4, 4, motor_speed, 2);
         OLED_ShowNum(4, 1, path, 2);
         break;
       }

       case 10: {
         const uint32_t DELAY_ENTER = 220; //调试

         if (path_change!=2)
         {
           if ((distances[0]>=150 && path_change==0)||(distances[0]<=150 && path_change==1))
           {
             Motor_Straight(MOTOR_1, MOTOR_2, MOTOR_3, MOTOR_4, -30, &yaw, &target_yaw);
             // 使用右侧电机调整
             Adjust_Right_Motors_By_Distance(MOTOR_2, MOTOR_4, MOTOR_1, MOTOR_3, raw_distances[2], 50.0f);
           }else if (distances[0]<=190 && path_change==0)
           {
             if(flag){
               time_start = HAL_GetTick();
               flag = false;
             }
             uint32_t time = HAL_GetTick();
             if(time - time_start >=100){
               path_change+=1;
               flag = true;
             }
           }else if (distances[0]>=180 && path_change==1)
           {
             if(flag){
               time_start = HAL_GetTick();
               flag = false;
             }
             uint32_t time = HAL_GetTick();
             if(time - time_start >= DELAY_ENTER){
               path_change+=1;
               flag = true;
             }
           }
         }else{
           // 直接执行旋转和路径切换
           Rotate_90_Degrees(MOTOR_1, MOTOR_2, MOTOR_3, MOTOR_4, true );
           path_change = 0;
           flag = true;
           path +=1;
           PID_ResetAll();
         }
         OLED_ShowNum(4, 1, path, 2);
         break;
       }

       case 11: {
         // 参数定义
         const float TARGET_DISTANCE = 120.0f;   // 调试，这个变量用于检测最终的目标距离
         const float DECEL_RANGE = 600.0f;      // 调试，这个变量用于设置减速区间范围
         const uint16_t ADJUST_DISTANCE = 250;  // 调试，这个变量用于在距离最终目标距离较近时的取消调校
         const uint8_t MIN_SPEED = 21;          // 调试，这个变量用于设置接近目标时的速度最小速度（靠近时）
         const uint8_t MAX_SPEED = 60;          // 调试，这个变量用于设置离目标较远时的速度
         const uint16_t DELAY_ADJUST = 2700;    // 调试，这个变量用于路径转换后的校准延时时间，需要确保进入垄

         float current_distance = distances[3];
         if(time_enterpath_case11 == 0) {
             time_enterpath_case11 = HAL_GetTick();
         }

         // 速度计算逻辑
         uint8_t motor_speed = MAX_SPEED;  // 默认最大速度

         // 添加延迟判定
         static uint32_t reach_target_time = 0;
         if (reach_target_time == 0) {
             reach_target_time = HAL_GetTick();
         }

         if (current_distance <= TARGET_DISTANCE) {
             // 区域3：到达目标距离（≤130mm）
             motor_speed = MIN_SPEED;

             // 执行路径切换逻辑
             if(current_distance <= TARGET_DISTANCE && (HAL_GetTick() - reach_target_time >= 3000)) {
                Rotate_90_Degrees(MOTOR_1, MOTOR_2, MOTOR_3, MOTOR_4, false );
                 path += 1;
                 PID_ResetAll(); // 重置所有PID控制器
                 reach_target_time = 0; // 重置时间戳
             }
         }
         else if (current_distance <= (TARGET_DISTANCE + DECEL_RANGE)) {
             // 区域2：减速区间（130~830mm）
             float distance_from_target = current_distance - TARGET_DISTANCE;
             float ratio = (distance_from_target / DECEL_RANGE)*1.45;
             motor_speed = MIN_SPEED + (uint8_t)((MAX_SPEED - MIN_SPEED) * ratio);
             motor_speed = CLAMP(motor_speed, MIN_SPEED, MAX_SPEED);
         }
         else {
             // 区域1：全速区间（>830mm）
             motor_speed = MAX_SPEED;
         }

         // 执行带平滑过渡的电机控制
         static uint8_t last_speed = 0;
         motor_speed = smooth_speed_transition(last_speed, motor_speed);
         last_speed = motor_speed;

         Motor_Straight(MOTOR_1, MOTOR_2, MOTOR_3, MOTOR_4, -motor_speed, &yaw, &target_yaw);

         if(HAL_GetTick() - time_enterpath_case11 >= DELAY_ADJUST && current_distance >= ADJUST_DISTANCE ){
             Adjust_Motors_By_Side_Distances(MOTOR_1, MOTOR_4, MOTOR_2, MOTOR_3, raw_distances[0], raw_distances[2], 82.0f);
         }

         OLED_ShowNum(4, 4, motor_speed, 2);
         OLED_ShowNum(4, 1, path, 2);
         break;
       }

       case 12: {
         static uint32_t start_backward_time = 0;

         if (start_backward_time == 0) {
             start_backward_time = HAL_GetTick();
         }

         uint32_t current_time = HAL_GetTick();
         if (current_time - start_backward_time < 3800) {  // 5秒内后退
             Motor_Straight(MOTOR_1, MOTOR_2, MOTOR_3, MOTOR_4, -30, &yaw, &target_yaw);
             // 使用左侧电机调整
             Adjust_Left_Motors_By_Distance(MOTOR_1, MOTOR_3, MOTOR_2, MOTOR_4, raw_distances[0], 50.0f);
         } else {
             // 5秒后停车
             Motor_SetSpeed(MOTOR_1, 0);
             Motor_SetSpeed(MOTOR_2, 0);
             Motor_SetSpeed(MOTOR_3, 0);
             Motor_SetSpeed(MOTOR_4, 0);
         }

         OLED_ShowNum(4, 1, path, 2);
         break;
       }
     }

  }
  /* USER CODE END 3 */
}

void SystemClock_Config(void)
{
  RCC_OscInitTypeDef RCC_OscInitStruct = {0};
  RCC_ClkInitTypeDef RCC_ClkInitStruct = {0};

  /** Configure the main internal regulator output voltage
  */
  __HAL_RCC_PWR_CLK_ENABLE();
  __HAL_PWR_VOLTAGESCALING_CONFIG(PWR_REGULATOR_VOLTAGE_SCALE1);

  /** Initializes the RCC Oscillators according to the specified parameters
  * in the RCC_OscInitTypeDef structure.
  */
  RCC_OscInitStruct.OscillatorType = RCC_OSCILLATORTYPE_HSI;
  RCC_OscInitStruct.HSIState = RCC_HSI_ON;
  RCC_OscInitStruct.HSICalibrationValue = RCC_HSICALIBRATION_DEFAULT;
  RCC_OscInitStruct.PLL.PLLState = RCC_PLL_ON;
  RCC_OscInitStruct.PLL.PLLSource = RCC_PLLSOURCE_HSI;
  RCC_OscInitStruct.PLL.PLLM = 8;
  RCC_OscInitStruct.PLL.PLLN = 168;
  RCC_OscInitStruct.PLL.PLLP = RCC_PLLP_DIV2;
  RCC_OscInitStruct.PLL.PLLQ = 4;
  if (HAL_RCC_OscConfig(&RCC_OscInitStruct) != HAL_OK)
  {
    Error_Handler();
  }

  /** Initializes the CPU, AHB and APB buses clocks
  */
  RCC_ClkInitStruct.ClockType = RCC_CLOCKTYPE_HCLK|RCC_CLOCKTYPE_SYSCLK
                              |RCC_CLOCKTYPE_PCLK1|RCC_CLOCKTYPE_PCLK2;
  RCC_ClkInitStruct.SYSCLKSource = RCC_SYSCLKSOURCE_PLLCLK;
  RCC_ClkInitStruct.AHBCLKDivider = RCC_SYSCLK_DIV1;
  RCC_ClkInitStruct.APB1CLKDivider = RCC_HCLK_DIV4;
  RCC_ClkInitStruct.APB2CLKDivider = RCC_HCLK_DIV2;

  if (HAL_RCC_ClockConfig(&RCC_ClkInitStruct, FLASH_LATENCY_5) != HAL_OK)
  {
    Error_Handler();
  }
}

void Error_Handler(void)
{
  /* USER CODE BEGIN Error_Handler_Debug */
  /* User can add his own implementation to report the HAL error return state */
  __disable_irq();
  while (1) {
//    HAL_GPIO_TogglePin(GPIOF, GPIO_PIN_9);  // 使用LED指示错误
//    HAL_Delay(500);
  }
  /* USER CODE END Error_Handler_Debug */
}
